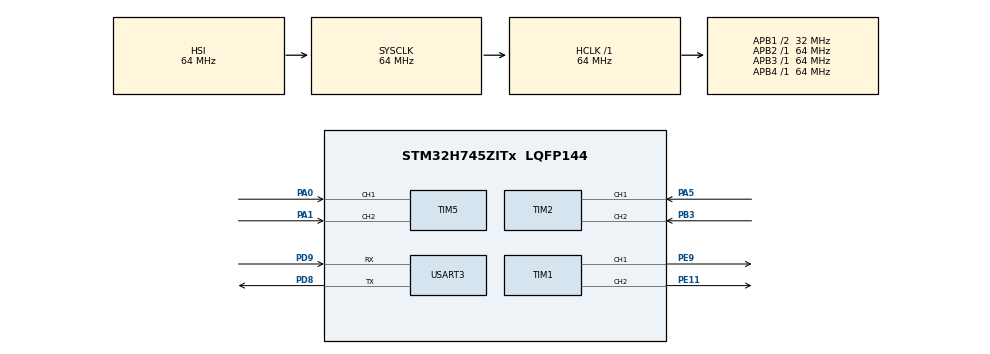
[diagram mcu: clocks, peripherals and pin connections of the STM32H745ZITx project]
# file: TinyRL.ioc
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CortexM4.IPs=BDMA,CORTEX_M4\:I,DEBUG,DMA,FATFS_M4\:I,FREERTOS_M4\:I,GPIO,IWDG2\:I,MDMA,NVIC2\:I,OPENAMP_M4\:I,PDM2PCM_M4\:I,PWR,RCC,RESMGR_UTILITY,SYS_M4\:I,USB_DEVICE_M4\:I,USB_HOST_M4\:I,VREFBUF,WWDG2\:I
CortexM7.IPs=BDMA\:I,CORTEX_M7\:I,DEBUG\:I,DMA\:I,FATFS_M7\:I,FREERTOS_M7\:I,GPIO\:I,IWDG1\:I,MDMA\:I,NVIC1\:I,OPENAMP_M7\:I,PDM2PCM_M7\:I,PWR\:I,RCC\:I,RESMGR_UTILITY\:I,SYS\:I,USB_DEVICE_M7\:I,USB_HOST_M7\:I,VREFBUF\:I,WWDG1\:I,TIM1\:I,TIM2\:I,TIM5\:I,TIM3\:I,USART3\:I
FREERTOS_M7.Tasks01=CommunicationTa,24,128,vCommunication,Default,NULL,Dynamic,NULL,NULL
FREERTOS_M7.configUSE_NEWLIB_REENTRANT=1
Mcu.Family=STM32H7
Mcu.Name=STM32H745ZITx
Mcu.Package=LQFP144
NVIC1.PriorityGroup=NVIC_PRIORITYGROUP_4
NVIC2.PriorityGroup=NVIC_PRIORITYGROUP_4
PA0.PinAttribute=CortexM7
PA0.Signal=S_TIM5_CH1
PA1.PinAttribute=CortexM7
PA1.Signal=S_TIM5_CH2
PA5.PinAttribute=CortexM7
PA5.Signal=S_TIM2_CH1_ETR
PB3\ (JTDO/TRACESWO).PinAttribute=CortexM7
PB3\ (JTDO/TRACESWO).Signal=S_TIM2_CH2
PD8.Mode=Asynchronous
PD8.PinAttribute=CortexM7
PD8.Signal=USART3_TX
PD9.Mode=Asynchronous
PD9.PinAttribute=CortexM7
PD9.Signal=USART3_RX
PE11.PinAttribute=CortexM7
PE11.Signal=S_TIM1_CH2
PE9.PinAttribute=CortexM7
PE9.Signal=S_TIM1_CH1
ProjectManager.HeapSize=M4-0x200,M7-0x200
ProjectManager.StackSize=M4-0x400,M7-0x400
ProjectManager.TargetToolchain=STM32CubeIDE
RCC.ADCFreq_Value=129000000
RCC.APB1Freq_Value=32000000
RCC.APB2Freq_Value=64000000
RCC.APB3Freq_Value=64000000
RCC.APB4Freq_Value=64000000
RCC.CortexFreq_Value=64000000
RCC.D2PPRE1=RCC_APB1_DIV2
RCC.HCLKFreq_Value=64000000
RCC.SYSCLKFreq_VALUE=64000000
RCC.USBFreq_Value=129000000
SH.S_TIM1_CH1.0=TIM1_CH1,PWM Generation1 CH1
SH.S_TIM1_CH2.0=TIM1_CH2,PWM Generation2 CH2
SH.S_TIM2_CH1_ETR.0=TIM2_CH1,Encoder_Interface
SH.S_TIM2_CH2.0=TIM2_CH2,Encoder_Interface
SH.S_TIM5_CH1.0=TIM5_CH1,Encoder_Interface
SH.S_TIM5_CH2.0=TIM5_CH2,Encoder_Interface
TIM1.Channel-PWM\ Generation1\ CH1=TIM_CHANNEL_1
TIM1.Channel-PWM\ Generation2\ CH2=TIM_CHANNEL_2
TIM3.Period=65535
TIM3.Prescaler=64000 - 1
USART3.VirtualMode-Asynchronous=VM_ASYNC
VP_FREERTOS_M7_VS_CMSIS_V2.Mode=CMSIS_V2
VP_TIM1_VS_ClockSourceINT.Mode=Internal
VP_TIM3_VS_ClockSourceINT.Mode=Internal
board=custom

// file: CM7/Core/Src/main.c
/* USER CODE BEGIN Header */
/**
 ******************************************************************************
 * @file           : main.c
 * @brief          : Main program body
 ******************************************************************************
 * @attention
 *
 * Copyright (c) 2024 STMicroelectronics.
 * All rights reserved.
 *
 * This software is licensed under terms that can be found in the LICENSE file
 * in the root directory of this software component.
 * If no LICENSE file comes with this software, it is provided AS-IS.
 *
 ******************************************************************************
 */
/* USER CODE END Header */
#include "main.h"
#include "cmsis_os.h"

/* USER CODE BEGIN Includes */
#include "string.h"
#include "stdio.h"
#include "TinyRL.h"
#include "queue.h"
#include "FreeRTOS.h"
#include "task.h"
#include "stdint.h"
/* USER CODE END Includes */

/* USER CODE BEGIN PD */

#ifndef HSEM_ID_0
#define HSEM_ID_0 (0U) /* HW semaphore 0*/
#endif

#define ROBOT_MOTOR_PWM_STEP 50
/* USER CODE END PD */

TIM_HandleTypeDef htim1;
TIM_HandleTypeDef htim2;
TIM_HandleTypeDef htim3;
TIM_HandleTypeDef htim5;

UART_HandleTypeDef huart3;

/* Definitions for CommunicationTa */
osThreadId_t CommunicationTaHandle;
const osThreadAttr_t CommunicationTa_attributes = {
		.name = "CommunicationTa",
		.stack_size = 256 * 4,
		.priority = (osPriority_t) osPriorityNormal,
};
/* USER CODE BEGIN PV */
TaskHandle_t ActionExecutionAction ;
uint8_t RL_RecivedInformations [5] ;

/* RTOS Queues */
QueueHandle_t RL_OrdersQueue ;
QueueHandle_t RL_ObservationsQueue ;
/* USER CODE END PV */

void SystemClock_Config(void);
static void MX_GPIO_Init(void);
static void MX_USART3_UART_Init(void);
static void MX_TIM1_Init(void);
static void MX_TIM2_Init(void);
static void MX_TIM5_Init(void);
static void MX_TIM3_Init(void);
void vCommunication(void *argument);

/* USER CODE BEGIN PFP */
void vActionExecutionTask( void* argument ) ;
/* USER CODE END PFP */

int main(void)
{
	/* USER CODE BEGIN 1 */
	uint8_t RecievedData = 0 ;
	/* USER CODE END 1 */
	/* USER CODE BEGIN Boot_Mode_Sequence_0 */
	/* USER CODE END Boot_Mode_Sequence_0 */

	/* USER CODE BEGIN Boot_Mode_Sequence_1 */

	/* USER CODE END Boot_Mode_Sequence_1 */
	/* MCU Configuration--------------------------------------------------------*/

	/* Reset of all peripherals, Initializes the Flash interface and the Systick. */
	HAL_Init();

	/* Configure the system clock */
	SystemClock_Config();
	/* USER CODE BEGIN Boot_Mode_Sequence_2 */
	/* USER CODE END Boot_Mode_Sequence_2 */

	/* Initialize all configured peripherals */
	MX_GPIO_Init();
	MX_USART3_UART_Init();
	MX_TIM1_Init();
	MX_TIM2_Init();
	MX_TIM5_Init();
	MX_TIM3_Init();
	/* USER CODE BEGIN 2 */
	HAL_TIM_PWM_Start(&htim1, TIM_CHANNEL_1 ) ;
	HAL_TIM_PWM_Start(&htim1, TIM_CHANNEL_2 ) ;
	HAL_StatusTypeDef HAL_MessageStatus = HAL_UART_Receive(&huart3, &RecievedData , 1 , 1 ) ;

	/* USER CODE END 2 */

	/* Init scheduler */
	osKernelInitialize();

	/* USER CODE BEGIN RTOS_QUEUES */
	/* add queues, ... */
	RL_OrdersQueue = xQueueCreate (10 , sizeof(int32_t) ) ;
	RL_ObservationsQueue = xQueueCreate(10 , sizeof ( RobotObservation ) ) ;
	/* USER CODE END RTOS_QUEUES */

	/* Create the thread(s) */
	/* creation of CommunicationTa */
	CommunicationTaHandle = osThreadNew(vCommunication, NULL, &CommunicationTa_attributes);

	/* USER CODE BEGIN RTOS_THREADS */
	/* add threads, ... */
	xTaskCreate(vActionExecutionTask, "ActionExecution" , 256 * 4, NULL , (UBaseType_t) osPriorityNormal ,& ActionExecutionAction);
	/* USER CODE END RTOS_THREADS */

	/* Start scheduler */
	osKernelStart();

	/* We should never get here as control is now taken by the scheduler */
	/* Infinite loop */
	while (1)
	{

	}
}

void SystemClock_Config(void)
{
	RCC_OscInitTypeDef RCC_OscInitStruct = {0};
	RCC_ClkInitTypeDef RCC_ClkInitStruct = {0};

	/** Supply configuration update enable
	 */
	HAL_PWREx_ConfigSupply(PWR_DIRECT_SMPS_SUPPLY);

	/** Configure the main internal regulator output voltage
	 */
	__HAL_PWR_VOLTAGESCALING_CONFIG(PWR_REGULATOR_VOLTAGE_SCALE3);

	while(!__HAL_PWR_GET_FLAG(PWR_FLAG_VOSRDY)) {}

	/** Initializes the RCC Oscillators according to the specified parameters
	 * in the RCC_OscInitTypeDef structure.
	 */
	RCC_OscInitStruct.OscillatorType = RCC_OSCILLATORTYPE_HSI;
	RCC_OscInitStruct.HSIState = RCC_HSI_DIV1;
	RCC_OscInitStruct.HSICalibrationValue = RCC_HSICALIBRATION_DEFAULT;
	RCC_OscInitStruct.PLL.PLLState = RCC_PLL_NONE;
	if (HAL_RCC_OscConfig(&RCC_OscInitStruct) != HAL_OK)
	{
		Error_Handler();
	}

	/** Initializes the CPU, AHB and APB buses clocks
	 */
	RCC_ClkInitStruct.ClockType = RCC_CLOCKTYPE_HCLK|RCC_CLOCKTYPE_SYSCLK
			|RCC_CLOCKTYPE_PCLK1|RCC_CLOCKTYPE_PCLK2
			|RCC_CLOCKTYPE_D3PCLK1|RCC_CLOCKTYPE_D1PCLK1;
	RCC_ClkInitStruct.SYSCLKSource = RCC_SYSCLKSOURCE_HSI;
	RCC_ClkInitStruct.SYSCLKDivider = RCC_SYSCLK_DIV1;
	RCC_ClkInitStruct.AHBCLKDivider = RCC_HCLK_DIV1;
	RCC_ClkInitStruct.APB3CLKDivider = RCC_APB3_DIV1;
	RCC_ClkInitStruct.APB1CLKDivider = RCC_APB1_DIV2;
	RCC_ClkInitStruct.APB2CLKDivider = RCC_APB2_DIV1;
	RCC_ClkInitStruct.APB4CLKDivider = RCC_APB4_DIV1;

	if (HAL_RCC_ClockConfig(&RCC_ClkInitStruct, FLASH_LATENCY_1) != HAL_OK)
	{
		Error_Handler();
	}
}

static void MX_TIM1_Init(void)
{

	TIM_ClockConfigTypeDef sClockSourceConfig = {0};
	TIM_MasterConfigTypeDef sMasterConfig = {0};
	TIM_OC_InitTypeDef sConfigOC = {0};
	TIM_BreakDeadTimeConfigTypeDef sBreakDeadTimeConfig = {0};

	htim1.Instance = TIM1;
	htim1.Init.Prescaler = 0;
	htim1.Init.CounterMode = TIM_COUNTERMODE_UP;
	htim1.Init.Period = 65535;
	htim1.Init.ClockDivision = TIM_CLOCKDIVISION_DIV1;
	htim1.Init.RepetitionCounter = 0;
	htim1.Init.AutoReloadPreload = TIM_AUTORELOAD_PRELOAD_DISABLE;
	if (HAL_TIM_Base_Init(&htim1) != HAL_OK)
	{
		Error_Handler();
	}
	sClockSourceConfig.ClockSource = TIM_CLOCKSOURCE_INTERNAL;
	if (HAL_TIM_ConfigClockSource(&htim1, &sClockSourceConfig) != HAL_OK)
	{
		Error_Handler();
	}
	if (HAL_TIM_PWM_Init(&htim1) != HAL_OK)
	{
		Error_Handler();
	}
	sMasterConfig.MasterOutputTrigger = TIM_TRGO_RESET;
	sMasterConfig.MasterOutputTrigger2 = TIM_TRGO2_RESET;
	sMasterConfig.MasterSlaveMode = TIM_MASTERSLAVEMODE_DISABLE;
	if (HAL_TIMEx_MasterConfigSynchronization(&htim1, &sMasterConfig) != HAL_OK)
	{
		Error_Handler();
	}
	sConfigOC.OCMode = TIM_OCMODE_PWM1;
	sConfigOC.Pulse = 0;
	sConfigOC.OCPolarity = TIM_OCPOLARITY_HIGH;
	sConfigOC.OCNPolarity = TIM_OCNPOLARITY_HIGH;
	sConfigOC.OCFastMode = TIM_OCFAST_DISABLE;
	sConfigOC.OCIdleState = TIM_OCIDLESTATE_RESET;
	sConfigOC.OCNIdleState = TIM_OCNIDLESTATE_RESET;
	if (HAL_TIM_PWM_ConfigChannel(&htim1, &sConfigOC, TIM_CHANNEL_1) != HAL_OK)
	{
		Error_Handler();
	}
	if (HAL_TIM_PWM_ConfigChannel(&htim1, &sConfigOC, TIM_CHANNEL_2) != HAL_OK)
	{
		Error_Handler();
	}
	sBreakDeadTimeConfig.OffStateRunMode = TIM_OSSR_DISABLE;
	sBreakDeadTimeConfig.OffStateIDLEMode = TIM_OSSI_DISABLE;
	sBreakDeadTimeConfig.LockLevel = TIM_LOCKLEVEL_OFF;
	sBreakDeadTimeConfig.DeadTime = 0;
	sBreakDeadTimeConfig.BreakState = TIM_BREAK_DISABLE;
	sBreakDeadTimeConfig.BreakPolarity = TIM_BREAKPOLARITY_HIGH;
	sBreakDeadTimeConfig.BreakFilter = 0;
	sBreakDeadTimeConfig.Break2State = TIM_BREAK2_DISABLE;
	sBreakDeadTimeConfig.Break2Polarity = TIM_BREAK2POLARITY_HIGH;
	sBreakDeadTimeConfig.Break2Filter = 0;
	sBreakDeadTimeConfig.AutomaticOutput = TIM_AUTOMATICOUTPUT_DISABLE;
	if (HAL_TIMEx_ConfigBreakDeadTime(&htim1, &sBreakDeadTimeConfig) != HAL_OK)
	{
		Error_Handler();
	}
	HAL_TIM_MspPostInit(&htim1);

}

static void MX_TIM2_Init(void)
{

	TIM_Encoder_InitTypeDef sConfig = {0};
	TIM_MasterConfigTypeDef sMasterConfig = {0};

	htim2.Instance = TIM2;
	htim2.Init.Prescaler = 0;
	htim2.Init.CounterMode = TIM_COUNTERMODE_UP;
	htim2.Init.Period = 4294967295;
	htim2.Init.ClockDivision = TIM_CLOCKDIVISION_DIV1;
	htim2.Init.AutoReloadPreload = TIM_AUTORELOAD_PRELOAD_DISABLE;
	sConfig.EncoderMode = TIM_ENCODERMODE_TI1;
	sConfig.IC1Polarity = TIM_ICPOLARITY_RISING;
	sConfig.IC1Selection = TIM_ICSELECTION_DIRECTTI;
	sConfig.IC1Prescaler = TIM_ICPSC_DIV1;
	sConfig.IC1Filter = 0;
	sConfig.IC2Polarity = TIM_ICPOLARITY_RISING;
	sConfig.IC2Selection = TIM_ICSELECTION_DIRECTTI;
	sConfig.IC2Prescaler = TIM_ICPSC_DIV1;
	sConfig.IC2Filter = 0;
	if (HAL_TIM_Encoder_Init(&htim2, &sConfig) != HAL_OK)
	{
		Error_Handler();
	}
	sMasterConfig.MasterOutputTrigger = TIM_TRGO_RESET;
	sMasterConfig.MasterSlaveMode = TIM_MASTERSLAVEMODE_DISABLE;
	if (HAL_TIMEx_MasterConfigSynchronization(&htim2, &sMasterConfig) != HAL_OK)
	{
		Error_Handler();
	}

}

static void MX_TIM3_Init(void)
{

	TIM_ClockConfigTypeDef sClockSourceConfig = {0};
	TIM_MasterConfigTypeDef sMasterConfig = {0};

	htim3.Instance = TIM3;
	htim3.Init.Prescaler = 64000 - 1;
	htim3.Init.CounterMode = TIM_COUNTERMODE_UP;
	htim3.Init.Period = 65535;
	htim3.Init.ClockDivision = TIM_CLOCKDIVISION_DIV1;
	htim3.Init.AutoReloadPreload = TIM_AUTORELOAD_PRELOAD_DISABLE;
	if (HAL_TIM_Base_Init(&htim3) != HAL_OK)
	{
		Error_Handler();
	}
	sClockSourceConfig.ClockSource = TIM_CLOCKSOURCE_INTERNAL;
	if (HAL_TIM_ConfigClockSource(&htim3, &sClockSourceConfig) != HAL_OK)
	{
		Error_Handler();
	}
	sMasterConfig.MasterOutputTrigger = TIM_TRGO_RESET;
	sMasterConfig.MasterSlaveMode = TIM_MASTERSLAVEMODE_DISABLE;
	if (HAL_TIMEx_MasterConfigSynchronization(&htim3, &sMasterConfig) != HAL_OK)
	{
		Error_Handler();
	}

}

static void MX_TIM5_Init(void)
{

	TIM_Encoder_InitTypeDef sConfig = {0};
	TIM_MasterConfigTypeDef sMasterConfig = {0};

	htim5.Instance = TIM5;
	htim5.Init.Prescaler = 0;
	htim5.Init.CounterMode = TIM_COUNTERMODE_UP;
	htim5.Init.Period = 4294967295;
	htim5.Init.ClockDivision = TIM_CLOCKDIVISION_DIV1;
	htim5.Init.AutoReloadPreload = TIM_AUTORELOAD_PRELOAD_DISABLE;
	sConfig.EncoderMode = TIM_ENCODERMODE_TI1;
	sConfig.IC1Polarity = TIM_ICPOLARITY_RISING;
	sConfig.IC1Selection = TIM_ICSELECTION_DIRECTTI;
	sConfig.IC1Prescaler = TIM_ICPSC_DIV1;
	sConfig.IC1Filter = 0;
	sConfig.IC2Polarity = TIM_ICPOLARITY_RISING;
	sConfig.IC2Selection = TIM_ICSELECTION_DIRECTTI;
	sConfig.IC2Prescaler = TIM_ICPSC_DIV1;
	sConfig.IC2Filter = 0;
	if (HAL_TIM_Encoder_Init(&htim5, &sConfig) != HAL_OK)
	{
		Error_Handler();
	}
	sMasterConfig.MasterOutputTrigger = TIM_TRGO_RESET;
	sMasterConfig.MasterSlaveMode = TIM_MASTERSLAVEMODE_DISABLE;
	if (HAL_TIMEx_MasterConfigSynchronization(&htim5, &sMasterConfig) != HAL_OK)
	{
		Error_Handler();
	}

}

static void MX_USART3_UART_Init(void)
{

	huart3.Instance = USART3;
	huart3.Init.BaudRate = 115200;
	huart3.Init.WordLength = UART_WORDLENGTH_8B;
	huart3.Init.StopBits = UART_STOPBITS_1;
	huart3.Init.Parity = UART_PARITY_NONE;
	huart3.Init.Mode = UART_MODE_TX_RX;
	huart3.Init.HwFlowCtl = UART_HWCONTROL_NONE;
	huart3.Init.OverSampling = UART_OVERSAMPLING_16;
	huart3.Init.OneBitSampling = UART_ONE_BIT_SAMPLE_DISABLE;
	huart3.Init.ClockPrescaler = UART_PRESCALER_DIV1;
	huart3.AdvancedInit.AdvFeatureInit = UART_ADVFEATURE_NO_INIT;
	if (HAL_UART_Init(&huart3) != HAL_OK)
	{
		Error_Handler();
	}
	if (HAL_UARTEx_SetTxFifoThreshold(&huart3, UART_TXFIFO_THRESHOLD_1_8) != HAL_OK)
	{
		Error_Handler();
	}
	if (HAL_UARTEx_SetRxFifoThreshold(&huart3, UART_RXFIFO_THRESHOLD_1_8) != HAL_OK)
	{
		Error_Handler();
	}
	if (HAL_UARTEx_DisableFifoMode(&huart3) != HAL_OK)
	{
		Error_Handler();
	}

}

static void MX_GPIO_Init(void)
{

	/* GPIO Ports Clock Enable */
	__HAL_RCC_GPIOA_CLK_ENABLE();
	__HAL_RCC_GPIOE_CLK_ENABLE();
	__HAL_RCC_GPIOD_CLK_ENABLE();
	__HAL_RCC_GPIOB_CLK_ENABLE();

}

/* USER CODE BEGIN 4 */

void vActionExecutionTask( void* argument )
{
	// Local Variables
	int32_t Robot_MotorsPMW ;
	RobotObservation RL_CurrentRobotObservations = { 0 , 0 , 0 , 0 , 0 } ;
	RL_ActionExecutionStates RL_ActionExecutionCurrentState = RL_WaitingForOrders ;
	for (;;)
	{
		switch (RL_ActionExecutionCurrentState)

		{
		case RL_WaitingForOrders :
			xQueueReceive( RL_OrdersQueue, &Robot_MotorsPMW, portMAX_DELAY ) ;
			RL_ActionExecutionCurrentState = RL_ExecutingTask ;
			break;
		case  RL_ExecutingTask :
		if ( Robot_MotorsPMW >= 0 )
				{
					ROBOT_MOTOR_CLOCKWISE ;
					ROBOT_MOTOR_MODIFY_PWM ;
				}
				else if ( Robot_MotorsPMW <= 0 )
				{
					ROBOT_MOTOR_COUNTERCLOCKWISE ;
					ROBOT_MOTOR_MODIFY_PWM ;
				}
				vTaskDelay(pdMS_TO_TICKS(RL_OBSERVATION_TIME_BEFORE_REPORTING_ms ) ) ;
				RL_CurrentRobotObservations.LeftWheelVelocity  = 100  ;
				RL_CurrentRobotObservations.RightWheelVelocity = 200 ;
				RL_CurrentRobotObservations.Angle = RL_RobotGetCurrentAngle() ;
				RL_RobotResetParcouredDistances() ;
				if ((RL_CurrentRobotObservations.Angle > 180 ) || (RL_CurrentRobotObservations.Angle < - 180 ) )
				{
					Robot_MotorsPMW = 0 ;
					ROBOT_MOTOR_MODIFY_PWM ;
					RL_CurrentRobotObservations.Terminated = 1 ;
				}
				RL_ActionExecutionCurrentState = RL_SendingReport ;
				break ;
		case RL_SendingReport :
			xQueueSend( RL_ObservationsQueue , &RL_CurrentRobotObservations , 10 ) ;
			RL_ActionExecutionCurrentState = RL_WaitingForOrders ;
			break;
		}

		}
}
/* USER CODE END 4 */

void vCommunication(void *argument)
{
	/* USER CODE BEGIN 5 */
	RobotObservation RL_CurrentRobotObservation ;
	ROBOT_States ROBOT_CurrentState = ROBOT_WaitingForOrders ;
	uint8_t RecievedData  = 10 ;
	static int32_t Robot_MotorsPMW = 0 ;
	HAL_StatusTypeDef HAL_MessageStatus = HAL_ERROR ;
	uint32_t RL_TimeStamp = 0 ;
	uint8_t message [100] = { 0 , 0 } ;
	/* Infinite loop */
	for(;;)
	{

		switch ( ROBOT_CurrentState )
		{
		case ROBOT_WaitingForOrders :
 			HAL_MessageStatus = HAL_UART_Receive(&huart3, &RecievedData , 1 , 10 ) ;
			if ( HAL_MessageStatus == HAL_OK )
			{
				if (RecievedData == '0')
				{
					Robot_MotorsPMW -= ROBOT_MOTOR_PWM_STEP ;
				}
				else if ( RecievedData == '2' )
				{
					Robot_MotorsPMW += ROBOT_MOTOR_PWM_STEP ;
				}
				else if ( RecievedData == '3' )
				{
					Robot_MotorsPMW = 0 ;
				}
				ROBOT_CurrentState = ROBOT_UpdatingOrders ;
				vTaskDelay(1) ;
			}
			else
			{
				vTaskDelay(20) ;
			}
			break;
		case ROBOT_UpdatingOrders :
			HAL_TIM_Base_Start(&htim3);
			xQueueSend(RL_OrdersQueue , &Robot_MotorsPMW , portMAX_DELAY ) ;
			// Here This task will be blocked until receiving the observations
			xQueueReceive( RL_ObservationsQueue , &RL_CurrentRobotObservation , portMAX_DELAY ) ;
			xQueueReset(RL_ObservationsQueue);
			RL_TimeStamp = TIM3->CNT ;
			HAL_TIM_Base_Stop(&htim3) ;
			ROBOT_CurrentState = ROBOT_GivingBackObservations ;

			break;
		case ROBOT_GivingBackObservations :
			sprintf((char*)message , "{ \"STM32TimeStamp\": %d, \"Terminated\": %d, \"CurrentRobotAngle\": %f, \"CurrentRightWheelVelocity\": %f, \"CurrentLeftWheelVelocity\": %f }\n",RL_TimeStamp ,RL_CurrentRobotObservation.Terminated , RL_CurrentRobotObservation.Angle , RL_CurrentRobotObservation.RightWheelVelocity ,RL_CurrentRobotObservation.LeftWheelVelocity ) ;
			HAL_UART_Transmit(&huart3, message , strlen((char*)message), 100) ;
			xQueueReset(RL_ObservationsQueue);
			xQueueReset(RL_OrdersQueue) ;
			ROBOT_CurrentState = ROBOT_WaitingForOrders ;
			break;
		}

	}
	/* USER CODE END 5 */
}

void Error_Handler(void)
{
	__disable_irq();
	while (1)
	{
	}
}
